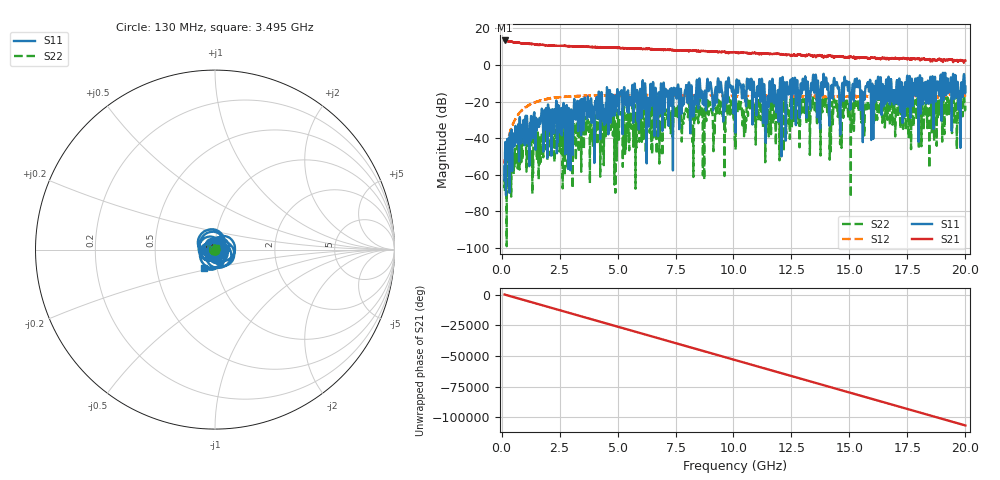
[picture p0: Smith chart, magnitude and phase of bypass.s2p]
!Created with skrf (http://scikit-rf.org).
# GHz S RI R 50.0
!freq ReS11 ImS11 ReS21 ImS21 ReS12 ImS12 ReS22 ImS22
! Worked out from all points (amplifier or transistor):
!   20013 points, 130 MHz to 20 GHz, reference 50 ohm
!   highest |S21| = 13.4 dB at 131 MHz (marker M1)
!   |S21| within 3 dB of that: start of sweep to 2.672 GHz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
!   unconditionally stable (mu >= 1): start of sweep to end of sweep
!   at 3.465 GHz: K = 1.33, MAG = 10.1 dB, |S12| = -16.9 dB
!   at 10.14 GHz: K = 1.55, MAG = 7.6 dB, |S12| = -17.1 dB
!   at 20 GHz: K = 2.54, MAG = 2.7 dB, |S12| = -16.7 dB
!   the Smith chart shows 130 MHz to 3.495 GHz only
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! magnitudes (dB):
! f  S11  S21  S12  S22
! 130 MHz  -55.5  13.4  -53.5  -59.3
! 131 MHz  -56.4  13.4  -53.2  -59.3
! 958 MHz  -31.7  11.9  -23.9  -40.3
! 3.442 GHz  -20.1  10.1  -16.9  -38.8
! 5.087 GHz  -16.4  9.3  -16.6  -25.9
! 6.754 GHz  -22.0  8.5  -16.5  -30.0
! 7.529 GHz  -15.7  8.1  -16.5  -25.4
! 8.216 GHz  -20.5  7.8  -16.7  -28.3
! 8.483 GHz  -20.9  7.8  -16.7  -31.8
! 10.06 GHz  -18.5  7.0  -16.8  -36.0
! 11.16 GHz  -19.7  6.3  -17.0  -25.1
! 11.44 GHz  -31.7  6.3  -16.8  -28.0
! 11.63 GHz  -18.1  6.1  -17.0  -30.9
! 13.38 GHz  -12.7  5.4  -16.6  -23.5
! 14.41 GHz  -10.8  4.5  -17.3  -23.1
! 14.66 GHz  -16.5  4.7  -16.9  -36.7
! 14.86 GHz  -10.2  4.1  -17.2  -23.5
! 15.11 GHz  -15.1  4.4  -16.8  -33.5
! 15.33 GHz  -8.0  4.0  -17.2  -19.2
! 15.57 GHz  -25.3  4.2  -16.8  -23.7
! 16.69 GHz  -6.4  3.1  -17.4  -17.2
! 20 GHz  -11.7  2.4  -16.7  -21.7
